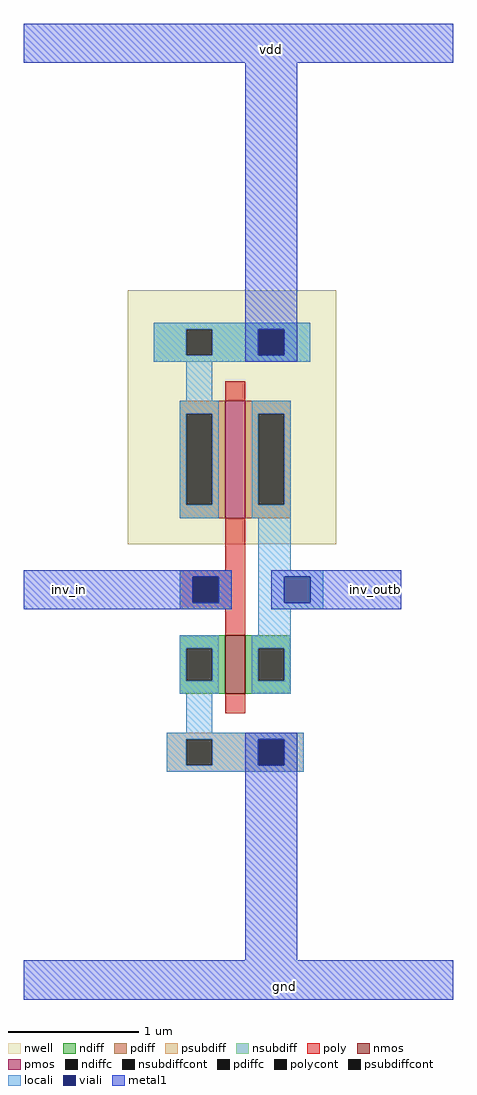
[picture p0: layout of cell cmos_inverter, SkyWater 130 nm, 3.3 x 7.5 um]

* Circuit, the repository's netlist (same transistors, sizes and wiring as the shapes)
* SPICE3 file created from cmos_inverter.ext - technology: sky130A

X0 out in vdd vdd sky130_fd_pr__pfet_01v8 ad=0.315 pd=2.5 as=0.315 ps=2.5 w=0.9 l=0.15
X1 out in gnd gnd sky130_fd_pr__nfet_01v8 ad=0.1575 pd=1.6 as=0.1575 ps=1.6 w=0.45 l=0.15

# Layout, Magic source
magic
tech sky130A
<< nwell >>
rect -30 90 130 285
<< nmos >>
rect 45 -25 60 20
<< pmos >>
rect 45 110 60 200
<< ndiff >>
rect 10 10 45 20
rect 10 -15 15 10
rect 35 -15 45 10
rect 10 -25 45 -15
rect 60 10 95 20
rect 60 -15 70 10
rect 90 -15 95 10
rect 60 -25 95 -15
<< pdiff >>
rect 10 190 45 200
rect 10 120 15 190
rect 35 120 45 190
rect 10 110 45 120
rect 60 190 95 200
rect 60 120 70 190
rect 90 120 95 190
rect 60 110 95 120
<< ndiffc >>
rect 15 -15 35 10
rect 70 -15 90 10
<< pdiffc >>
rect 15 120 35 190
rect 70 120 90 190
<< psubdiff >>
rect 0 -60 105 -55
rect 0 -80 15 -60
rect 35 -80 70 -60
rect 90 -80 105 -60
rect 0 -85 105 -80
<< nsubdiff >>
rect -10 255 110 260
rect -10 235 15 255
rect 35 235 70 255
rect 90 235 110 255
rect -10 230 110 235
<< psubdiffcont >>
rect 15 -80 35 -60
rect 70 -80 90 -60
<< nsubdiffcont >>
rect 15 235 35 255
rect 70 235 90 255
<< poly >>
rect 45 200 60 215
rect 45 70 60 110
rect 10 65 60 70
rect 10 45 20 65
rect 40 45 60 65
rect 10 40 60 45
rect 45 20 60 40
rect 45 -40 60 -25
<< polycont >>
rect 20 45 40 65
<< locali >>
rect -10 255 110 260
rect -10 235 15 255
rect 35 235 70 255
rect 90 235 110 255
rect -10 230 110 235
rect 15 200 35 230
rect 10 190 40 200
rect 10 120 15 190
rect 35 120 40 190
rect 10 110 40 120
rect 65 190 95 200
rect 65 120 70 190
rect 90 120 95 190
rect 65 110 95 120
rect 70 70 95 110
rect 10 65 50 70
rect 10 45 20 65
rect 40 45 50 65
rect 10 40 50 45
rect 70 65 120 70
rect 70 45 90 65
rect 110 45 120 65
rect 70 40 120 45
rect 70 20 95 40
rect 10 10 40 20
rect 10 -15 15 10
rect 35 -15 40 10
rect 10 -25 40 -15
rect 65 10 95 20
rect 65 -15 70 10
rect 90 -15 95 10
rect 65 -25 95 -15
rect 15 -55 35 -25
rect 0 -60 105 -55
rect 0 -80 15 -60
rect 35 -80 70 -60
rect 90 -80 105 -60
rect 0 -85 105 -80
<< viali >>
rect 70 235 90 255
rect 20 45 40 65
rect 90 45 110 65
rect 70 -80 90 -60
<< metal1 >>
rect -110 460 220 490
rect 60 255 100 460
rect 60 235 70 255
rect 90 235 100 255
rect 60 230 100 235
rect -110 65 50 70
rect -110 45 20 65
rect 40 45 50 65
rect -110 40 50 45
rect 80 65 180 70
rect 80 45 90 65
rect 110 45 180 65
rect 80 40 180 45
rect 60 -60 100 -55
rect 60 -80 70 -60
rect 90 -80 100 -60
rect 60 -230 100 -80
rect -110 -260 220 -230
<< labels >>
rlabel metal1 155 40 165 70 1 inv_outb
rlabel metal1 -80 40 -70 70 1 inv_in
rlabel metal1 80 470 80 470 1 vdd
rlabel metal1 90 -250 90 -250 1 gnd
<< end >>
